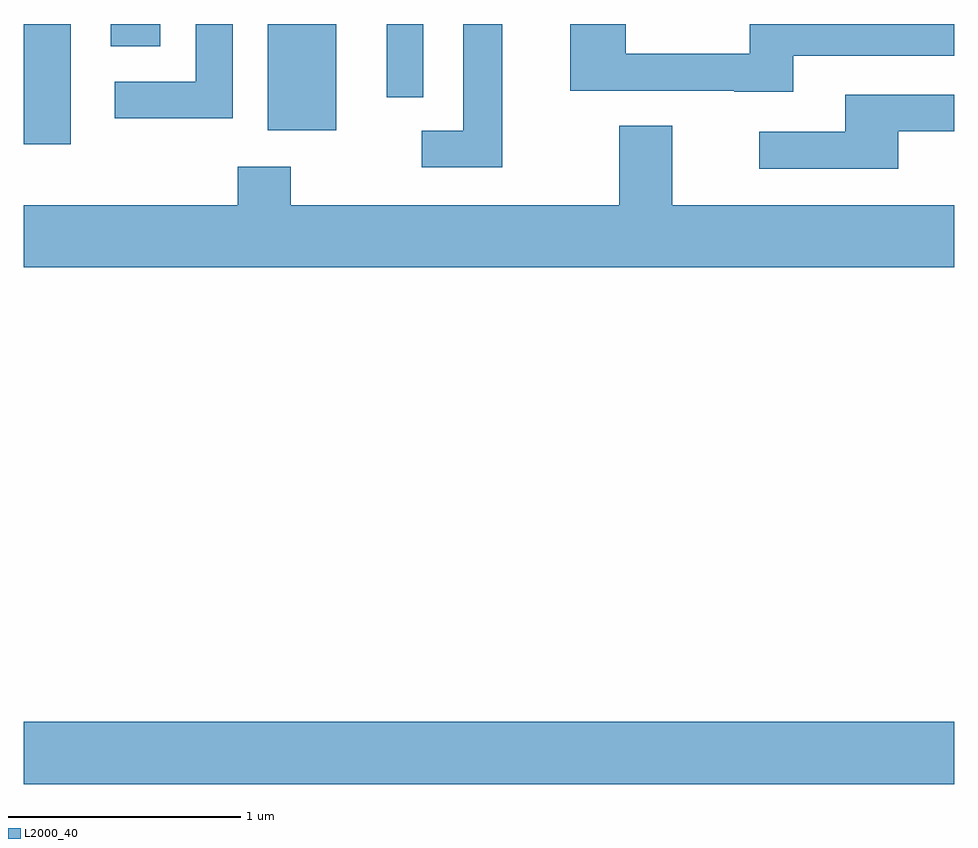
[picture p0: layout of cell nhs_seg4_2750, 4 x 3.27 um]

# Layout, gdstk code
import gdstk
lib = gdstk.Library(unit=1e-6, precision=1e-09)
def R(c, l, rs):  # rectangles x0, y0, x1, y1
    for r in rs: c.add(gdstk.rectangle(r[:2], r[2:], *l))
def P(c, l, *ps):  # polygons
    for p in ps: c.add(gdstk.Polygon(p, *l))
L2000_40 = (2000, 40)

nhs_seg4_2750 = lib.new_cell('nhs_seg4_2750')
R(nhs_seg4_2750, L2000_40, [(265.611,1314.716,269.611,1314.984), (265.611,1317.466,265.814,1317.982), (266.661,1317.526,266.954,1317.982), (267.171,1317.668,267.329,1317.982), (265.986,1317.886,266.199,1317.982)])
P(nhs_seg4_2750, L2000_40, [(266.509,1317.982),(266.351,1317.982),(266.351,1317.734),(266.003,1317.734),(266.003,1317.576),(266.509,1317.576)],
  [(267.669,1317.982),(267.501,1317.982),(267.501,1317.524),(267.323,1317.524),(267.323,1317.366),(267.669,1317.366)],
  [(268.919,1317.846),(269.611,1317.846),(269.611,1317.982),(268.731,1317.982),(268.731,1317.854),(268.199,1317.854),(268.199,1317.982),(267.961,1317.982),(267.961,1317.696),(268.665,1317.696),(268.665,1317.691),(268.919,1317.691)],
  [(269.369,1317.521),(269.611,1317.521),(269.611,1317.679),(269.141,1317.679),(269.141,1317.519),(268.773,1317.519),(268.773,1317.361),(269.369,1317.361)],
  [(269.611,1317.204),(268.399,1317.204),(268.399,1317.544),(268.171,1317.544),(268.171,1317.204),(266.759,1317.204),(266.759,1317.369),(266.531,1317.369),(266.531,1317.204),(265.611,1317.204),(265.611,1316.936),(269.611,1316.936)])

lib.write_gds('nhs_seg4_2750.gds')
